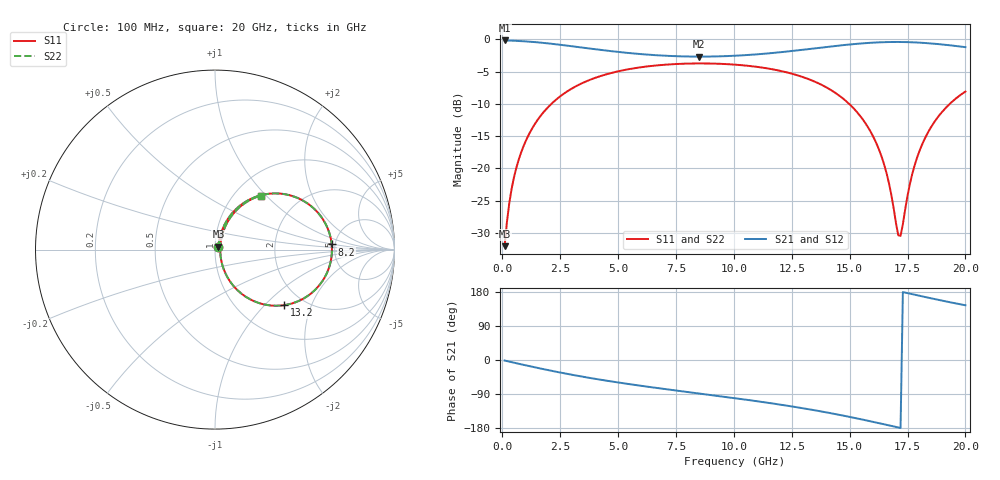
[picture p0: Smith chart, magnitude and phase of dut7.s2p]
! Touchstone file exported from HFSS 2026.1.0
!  File:  C:/ffzhzh/LocalFiles/Ansys_Project_Files/temp_test_TSV_RDL_7_1782979002_6388.aedt
!  Generated:  04:06:33 PM Jul  2, 2026
!  Design:  TSV_RDL
!  Project:  temp_test_TSV_RDL_7_1782979002_6388
! Variables:
!  h_bsmrdl = 5.72um
!  h_ox = 20um
!  h_rdl = 5um
!  h_sub = 61.28um
!  h_tmrdl = 2.64um
!  h_tsv = 61.28um
!  h_via = 3um
!  l_bsmrdl = 786.11um
!  l_sub = 3561.7um
!  l_tmrdl = 178.14um
!  m_sub = 200um
!  pitch = 59.03um
!  r_tsv = 14.76um
!  s_tmrdl = 10um
!  w_bsmrdl = 11.78um
!  w_sub = 500um
!  w_tmrdl = 18.49um
!  x_tsv_center1 = 187.385um
!  x_tsv_center2 = 985.275um
!  x_tsv_center3 = 1181.905um
!  x_tsv_center4 = 1979.795um
!  x_tsv_center5 = 2176.425um
!  x_tsv_center6 = 2974.315um
# GHz S MA R 50.000000
! Terminal data exported
! Port[1] = TM_RDL1_1_T1
! Port[2] = TM_RDL5_1_T1
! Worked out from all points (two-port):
!   200 points, 100 MHz to 20 GHz, reference 50 ohm
!   highest |S21| = -0.16 dB at 100 MHz (marker M1); lowest = -2.7 dB at 8.5 GHz (marker M2)
!   |S21| within 3 dB of the highest: start of sweep to end of sweep
!   lowest |S11| = -32.0 dB at 100 MHz (marker M3), VSWR 1.05, Z = 51.9 + j1.71 ohm
!   |S11| at or under -10 dB: start of sweep to 2.116 GHz; 14.98 GHz to 19.32 GHz (4.341 GHz wide, 25.3 % of centre)
!   |S22| runs from -32.0 to -3.7 dB; largest |S21 - S12| = 1.7e-14
!   S11 on the Smith chart (normalised r, x): 100 MHz: 1.04, +0.03; 8.2 GHz: 4.68, +0.46; 13.2 GHz: 1.60, -1.31; 20 GHz: 1.31, +0.93
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0.1  0.025 41.1  0.9814 -1.4  0.9814 -1.4  0.025 41.1
! Gamma 0 0 0 0
! Port Impedance 50 0 50 0
0.3  0.05363 64.7  0.9795 -4.3  0.9795 -4.3  0.05363 64.7
0.5  0.0847 69.2  0.9765 -7.1  0.9765 -7.1  0.0847 69.2
1.1  0.1764 67.7  0.9628 -15.3  0.9628 -15.3  0.1764 67.7
2.1  0.3143 57.6  0.9263 -28.2  0.9263 -28.2  0.3143 57.6
3.5  0.4626 42.6  0.8622 -44.4  0.8622 -44.4  0.4626 42.6
6.8  0.6319 13.3  0.7513 -74.8  0.7513 -74.8  0.6318 13.3
8.2  0.6507 2.5  0.7363 -86.0  0.7363 -86.0  0.6506 2.5
8.5  0.6514 0.2  0.7357 -88.4  0.7357 -88.4  0.6514 0.2
10.1  0.6365 -12.0  0.748 -101.2  0.748 -101.2  0.6365 -12.0
13.2  0.4945 -38.8  0.8402 -129.5  0.8402 -129.5  0.4945 -38.7
13.4  0.4785 -40.7  0.8484 -131.7  0.8484 -131.7  0.4785 -40.7
14.6  0.3614 -52.8  0.8982 -145.3  0.8982 -145.3  0.3614 -52.8
15.5  0.2492 -61.7  0.9304 -156.5  0.9304 -156.5  0.2492 -61.6
16.2  0.1501 -66.2  0.9477 -165.7  0.9477 -165.7  0.1501 -66.2
16.7  0.07677 -61.7  0.9542 -172.5  0.9542 -172.5  0.07676 -61.6
17.1  0.0304 -15.8  0.9553 -178.0  0.9553 -178.0  0.03047 -15.7
17.2  0.03001 12.9  0.955 -179.4  0.955 -179.4  0.03011 13.0
17.7  0.08991 63.7  0.95 173.8  0.95 173.8  0.08998 63.6
18.2  0.1635 65.7  0.9396 167.0  0.9396 167.0  0.1635 65.7
19  0.2751 59.7  0.9135 156.6  0.9135 156.6  0.2751 59.7
20  0.3945 49.8  0.8708 144.4  0.8708 144.4  0.3946 49.8
